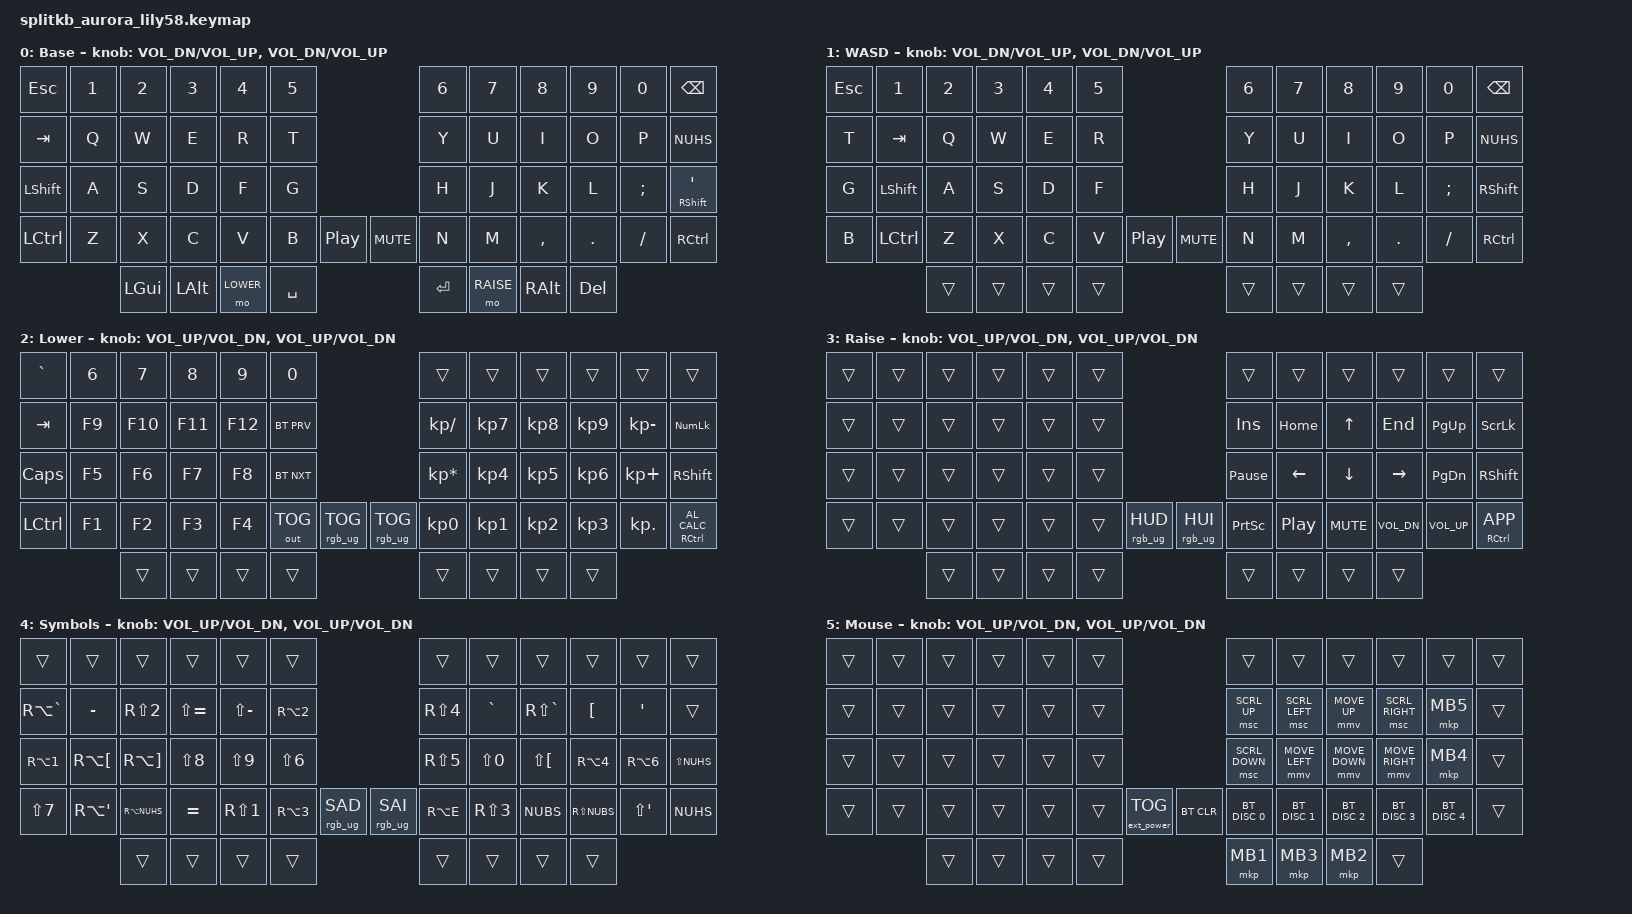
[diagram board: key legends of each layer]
/*
 * Copyright (c) 2020 The ZMK Contributors
 *
 * SPDX-License-Identifier: MIT
 */

#include <behaviors.dtsi>
#include <dt-bindings/zmk/keys.h>
#include <dt-bindings/zmk/bt.h>
#include <dt-bindings/zmk/ext_power.h>
#include <dt-bindings/zmk/outputs.h>

#define ZMK_POINTING_DEFAULT_MOVE_VAL 1500  // default: 600
#define ZMK_POINTING_DEFAULT_SCRL_VAL 20    // default: 10
#include <dt-bindings/zmk/pointing.h>
#include <dt-bindings/zmk/rgb.h>

#define BASE 0
#define WASD 1
#define LOWER 2
#define RAISE 3
#define SYMBOLS 4
#define MOUSE 5

#define KEY_LSHIFT 24
#define KEY_RSHIFT 35
#define KEY_WIN 50
#define KEY_LALT 51
#define KEY_LOWER 52
#define KEY_SPACE 53
#define KEY_ENTER 54
#define KEY_RAISE 55
#define KEY_RALT 56
#define KEY_DEL 57

/ {
    behaviors {
        mt: mod_tap {
            compatible = "zmk,behavior-hold-tap";
            #binding-cells = <2>;
            flavor = "balanced";
            tapping-term-ms = <200>;
            bindings = <&kp>, <&kp>;
            display-name = "Mod-Tap";
        };
    };
    
    combos {
        compatible = "zmk,combos";
        combo_mo_mouse {
            timeout-ms = <50>;
            key-positions = <KEY_LALT KEY_LOWER>;
            slow-release;
            bindings = <&mo MOUSE>;
            layers = <BASE>;
        };
        combo_to_mouse {
            timeout-ms = <50>;
            key-positions = <KEY_ENTER KEY_RAISE KEY_RALT>;
            bindings = <&to MOUSE>;
            layers = <BASE>;
        };
        combo_to_wasd {
            timeout-ms = <50>;
            key-positions = <KEY_WIN KEY_LALT KEY_LOWER>;
            bindings = <&to WASD>;
            layers = <BASE>;
        };
        combo_to_lower {
            timeout-ms = <50>;
            key-positions = <KEY_LOWER KEY_SPACE>;
            bindings = <&to LOWER>;
            layers = <BASE>;
        };
        combo_to_raise {
            timeout-ms = <50>;
            key-positions = <KEY_ENTER KEY_RAISE>;
            bindings = <&to RAISE>;
            layers = <BASE>;
        };
        combo_to_base {
            timeout-ms = <50>;
            key-positions = <KEY_WIN KEY_LALT KEY_LOWER>;
            bindings = <&to BASE>;
            layers = <MOUSE LOWER RAISE WASD>;
        };
        combo_to_base_alt {
            timeout-ms = <50>;
            key-positions = <KEY_RAISE KEY_RALT KEY_DEL>;
            bindings = <&to BASE>;
            layers = <MOUSE LOWER RAISE WASD>;
        };
        combo_caps_word {
            timeout-ms = <50>;
            key-positions = <KEY_LSHIFT KEY_RSHIFT>;
            bindings = <&caps_word>;
            layers = <BASE>;
        };
    };

    conditional_layers {
        compatible = "zmk,conditional-layers";
        tri_layer {
            if-layers = <LOWER RAISE>;
            then-layer = <SYMBOLS>;
        };
    };

    keymap {
        compatible = "zmk,keymap";

        base {
            display-name = "Base";
            bindings = <
   &kp ESC          &kp N1           &kp N2           &kp N3           &kp N4           &kp N5                                             &kp N6           &kp N7           &kp N8           &kp N9           &kp N0           &kp BSPC           
   &kp TAB          &kp Q            &kp W            &kp E            &kp R            &kp T                                              &kp Y            &kp U            &kp I            &kp O            &kp P            &kp NUHS            
   &kp LSHIFT       &kp A            &kp S            &kp D            &kp F            &kp G                                              &kp H            &kp J            &kp K            &kp L            &kp SEMI         &mt RSHIFT SQT      
   &kp LCTRL        &kp Z            &kp X            &kp C            &kp V            &kp B            &kp C_PP         &kp C_MUTE       &kp N            &kp M            &kp COMMA        &kp DOT          &kp FSLH         &kp RCTRL           
                                     &kp LGUI         &kp LALT         &mo LOWER        &kp SPACE                                          &kp RET          &mo RAISE        &kp RALT         &kp DEL                                               
            >;

            sensor-bindings = <&inc_dec_kp C_VOL_DN C_VOL_UP &inc_dec_kp C_VOL_DN C_VOL_UP>;
        };

        wasd {
            display-name = "WASD";
            bindings = <
   &kp ESC          &kp N1           &kp N2           &kp N3           &kp N4           &kp N5                                             &kp N6           &kp N7           &kp N8           &kp N9           &kp N0           &kp BSPC            
   &kp T            &kp TAB          &kp Q            &kp W            &kp E            &kp R                                              &kp Y            &kp U            &kp I            &kp O            &kp P            &kp NUHS            
   &kp G            &kp LSHIFT       &kp A            &kp S            &kp D            &kp F                                              &kp H            &kp J            &kp K            &kp L            &kp SEMI         &kp RSHIFT          
   &kp B            &kp LCTRL        &kp Z            &kp X            &kp C            &kp V            &kp C_PP         &kp C_MUTE       &kp N            &kp M            &kp COMMA        &kp DOT          &kp FSLH         &kp RCTRL           
                                     &trans           &trans           &trans           &trans                                             &trans           &trans           &trans           &trans                                                
            >;

            sensor-bindings = <&inc_dec_kp C_VOL_DN C_VOL_UP &inc_dec_kp C_VOL_DN C_VOL_UP>;
        };

        lower_layer {
            display-name = "Lower";
            bindings = <
   &kp GRAVE        &kp N6           &kp N7           &kp N8           &kp N9           &kp N0                                             &trans           &trans           &trans           &trans           &trans           &trans              
   &kp TAB          &kp F9           &kp F10          &kp F11          &kp F12          &bt BT_PRV                                         &kp KP_SLASH     &kp KP_N7        &kp KP_N8        &kp KP_N9        &kp KP_MINUS     &kp KP_NUMLOCK            
   &kp CAPS         &kp F5           &kp F6           &kp F7           &kp F8           &bt BT_NXT                                         &kp KP_ASTERISK  &kp KP_N4        &kp KP_N5        &kp KP_N6        &kp KP_PLUS      &kp RSHIFT
   &kp LCTRL        &kp F1           &kp F2           &kp F3           &kp F4           &out OUT_TOG     &rgb_ug RGB_TOG  &rgb_ug RGB_TOG  &kp KP_N0        &kp KP_N1        &kp KP_N2        &kp KP_N3        &kp KP_DOT       &mt RCTRL C_AL_CALC 
                                     &trans           &trans           &trans           &trans                                             &trans           &trans           &trans           &trans                                                
            >;

            sensor-bindings = <&inc_dec_kp C_VOL_UP C_VOL_DN &inc_dec_kp C_VOL_UP C_VOL_DN>;
        };

        raise_layer {
            display-name = "Raise";
            bindings = <
   &trans           &trans           &trans           &trans           &trans           &trans                                             &trans           &trans           &trans           &trans           &trans           &trans              
   &trans           &trans           &trans           &trans           &trans           &trans                                             &kp INS          &kp HOME         &kp UP           &kp END          &kp PG_UP        &kp SLCK            
   &trans           &trans           &trans           &trans           &trans           &trans                                             &kp PAUSE_BREAK  &kp LEFT         &kp DOWN         &kp RIGHT        &kp PG_DN        &kp RSHIFT     
   &trans           &trans           &trans           &trans           &trans           &trans           &rgb_ug RGB_HUD  &rgb_ug RGB_HUI  &kp PSCRN        &kp C_PP         &kp C_MUTE       &kp C_VOL_DN     &kp C_VOL_UP     &mt RCTRL K_APP     
                                     &trans           &trans           &trans           &trans                                             &trans           &trans           &trans           &trans                                                
            >;

            sensor-bindings = <&inc_dec_kp C_VOL_UP C_VOL_DN &inc_dec_kp C_VOL_UP C_VOL_DN>;
        };

        symbols_layer {
            display-name = "Symbols";
            bindings = <
   &trans           &trans           &trans           &trans           &trans           &trans                                             &trans           &trans           &trans           &trans           &trans           &trans              
   &kp RA(GRAVE)    &kp MINUS        &kp RS(N2)       &kp LS(EQUAL)    &kp LS(MINUS)    &kp RA(N2)                                         &kp RS(N4)       &kp GRAVE        &kp RS(GRAVE)    &kp LBKT         &kp SQT          &trans              
   &kp RA(N1)       &kp RA(LBKT)     &kp RA(RBKT)     &kp LS(N8)       &kp LS(N9)       &kp LS(N6)                                         &kp RS(N5)       &kp LS(N0)       &kp LS(LBKT)     &kp RA(N4)       &kp RA(N6)       &kp LS(NUHS)        
   &kp LS(N7)       &kp RA(SQT)      &kp RA(NUHS)     &kp EQUAL        &kp RS(N1)       &kp RA(N3)       &rgb_ug RGB_SAD  &rgb_ug RGB_SAI  &kp RA(E)        &kp RS(N3)       &kp NUBS         &kp RS(NUBS)     &kp LS(SQT)      &kp NUHS            
                                     &trans           &trans           &trans           &trans                                             &trans           &trans           &trans           &trans                                                
            >;

            sensor-bindings = <&inc_dec_kp C_VOL_UP C_VOL_DN &inc_dec_kp C_VOL_UP C_VOL_DN>;
        };

        mouse_layer {
            display-name = "Mouse";
            bindings = <
   &trans           &trans           &trans           &trans           &trans           &trans                                             &trans           &trans           &trans           &trans           &trans           &trans              
   &trans           &trans           &trans           &trans           &trans           &trans                                             &msc SCRL_UP     &msc SCRL_LEFT   &mmv MOVE_UP     &msc SCRL_RIGHT  &mkp MB5         &trans              
   &trans           &trans           &trans           &trans           &trans           &trans                                             &msc SCRL_DOWN   &mmv MOVE_LEFT   &mmv MOVE_DOWN   &mmv MOVE_RIGHT  &mkp MB4         &trans              
   &trans           &trans           &trans           &trans           &trans           &trans          &ext_power EP_TOG  &bt BT_CLR      &bt BT_DISC 0    &bt BT_DISC 1    &bt BT_DISC 2    &bt BT_DISC 3    &bt BT_DISC 4    &trans              
                                     &trans           &trans           &trans           &trans                                             &mkp MB1         &mkp MB3         &mkp MB2         &trans                                                
            >;

            sensor-bindings = <&inc_dec_kp C_VOL_UP C_VOL_DN &inc_dec_kp C_VOL_UP C_VOL_DN>;
        };
    };
};
